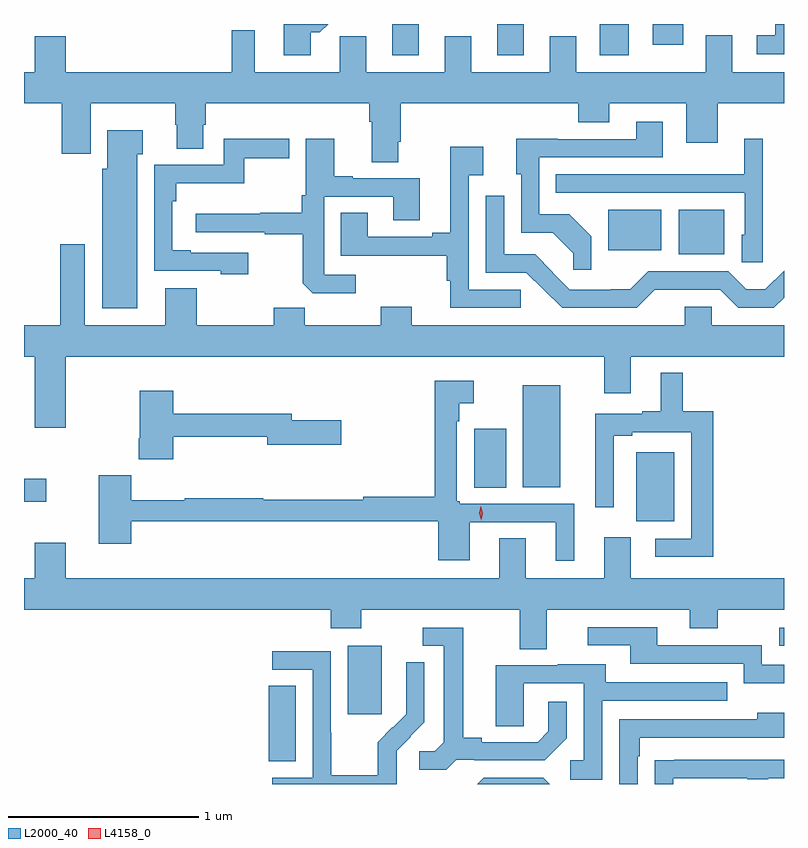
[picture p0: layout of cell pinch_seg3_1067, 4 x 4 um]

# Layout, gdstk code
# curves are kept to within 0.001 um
import gdstk
lib = gdstk.Library(unit=1e-6, precision=1e-09)
def R(c, l, rs):  # rectangles x0, y0, x1, y1
    for r in rs: c.add(gdstk.rectangle(r[:2], r[2:], *l))
def P(c, l, *ps):  # polygons
    for p in ps: c.add(gdstk.Polygon(p, *l))
L2000_40 = (2000, 40)
L4158_0 = (4158, 0)

pinch_seg3_1067 = lib.new_cell('pinch_seg3_1067')
R(pinch_seg3_1067, L2000_40, [(370.034,677.473,370.177,677.87), (370.451,677.721,370.63,678.082), (372.723,678.081,372.747,678.177), (371.969,678.737,372.169,679.099), (368.747,678.839,368.863,678.961), (371.117,678.913,371.284,679.225), (371.372,678.917,371.569,679.453), (372.194,680.141,372.433,680.377), (371.822,680.162,372.1,680.377), (370.685,681.189,370.825,681.354), (371.237,681.189,371.377,681.354), (371.777,681.189,371.929,681.354), (372.056,681.246,372.217,681.354)])
P(pinch_seg3_1067, L2000_40, [(372.747,681.354),(372.701,681.354),(372.701,681.295),(372.603,681.295),(372.603,681.194),(372.747,681.194)],
  [(370.255,681.311),(370.304,681.311),(370.347,681.354),(370.115,681.354),(370.115,681.189),(370.255,681.189)],
  [(370.717,680.734),(370.73,680.734),(370.73,680.936),(371.663,680.936),(371.663,680.837),(371.827,680.837),(371.827,680.936),(372.233,680.936),(372.233,680.73),(372.397,680.73),(372.397,680.936),(372.747,680.936),(372.747,681.1),(372.475,681.1),(372.475,681.295),(372.335,681.295),(372.335,681.1),(371.653,681.1),(371.653,681.29),(371.513,681.29),(371.513,681.1),(371.101,681.1),(371.101,681.29),(370.961,681.29),(370.961,681.1),(370.549,681.1),(370.549,681.29),(370.41,681.29),(370.41,681.1),(369.961,681.1),(369.961,681.322),(369.84,681.322),(369.84,681.1),(368.968,681.1),(368.968,681.289),(368.804,681.289),(368.804,681.1),(368.747,681.1),(368.747,680.936),(368.945,680.936),(368.945,680.67),(369.097,680.67),(369.097,680.936),(369.544,680.936),(369.544,680.823),(369.551,680.823),(369.551,680.698),(369.691,680.698),(369.691,680.823),(369.704,680.823),(369.704,680.936),(370.565,680.936),(370.565,680.84),(370.577,680.84),(370.577,680.626),(370.717,680.626)],
  [(371.733,680.236),(371.617,680.352),(371.46,680.352),(371.46,680.652),(372.109,680.652),(372.109,680.839),(371.969,680.839),(371.969,680.748),(371.557,680.748),(371.557,680.75),(371.339,680.75),(371.339,680.562),(371.364,680.562),(371.364,680.256),(371.53,680.256),(371.638,680.148),(371.638,680.061),(371.733,680.061)],
  [(369.343,680.669),(369.373,680.669),(369.373,680.794),(369.185,680.794),(369.185,680.592),(369.158,680.592),(369.158,679.859),(369.343,679.859)],
  [(369.928,680.151),(369.625,680.151),(369.625,680.164),(369.528,680.164),(369.528,680.42),(369.548,680.42),(369.548,680.516),(369.907,680.516),(369.907,680.647),(370.144,680.647),(370.144,680.75),(369.798,680.75),(369.798,680.613),(369.432,680.613),(369.432,680.055),(369.783,680.055),(369.783,680.036),(369.928,680.036)],
  [(370.492,680.034),(370.326,680.034),(370.326,680.445),(370.691,680.445),(370.691,680.32),(370.831,680.32),(370.831,680.541),(370.477,680.541),(370.477,680.554),(370.381,680.554),(370.381,680.749),(370.23,680.749),(370.23,680.452),(370.21,680.452),(370.21,680.36),(369.991,680.36),(369.991,680.356),(369.651,680.356),(369.651,680.259),(370.015,680.259),(370.015,680.247),(370.215,680.247),(370.215,679.989),(370.267,679.938),(370.492,679.938)],
  [(372.636,680.749),(372.539,680.749),(372.539,680.563),(372.205,680.563),(372.205,680.562),(371.545,680.562),(371.545,680.466),(372.54,680.466),(372.54,680.244),(372.524,680.244),(372.524,680.101),(372.636,680.101)],
  [(371.361,679.956),(371.088,679.956),(371.088,680.558),(371.164,680.558),(371.164,680.707),(370.991,680.707),(370.991,680.255),(370.895,680.255),(370.895,680.235),(370.555,680.235),(370.555,680.36),(370.415,680.36),(370.415,680.134),(370.972,680.134),(370.972,680.003),(370.991,680.003),(370.991,679.86),(371.361,679.86)],
  [(372.068,679.955),(372.411,679.956),(372.507,679.86),(372.694,679.86),(372.747,679.913),(372.747,680.055),(372.649,679.957),(372.548,679.957),(372.453,680.052),(372.033,680.052),(371.939,679.958),(371.834,679.958),(371.834,679.956),(371.619,679.956),(371.529,680.046),(371.531,680.048),(371.437,680.142),(371.274,680.142),(371.274,680.449),(371.178,680.449),(371.178,680.046),(371.391,680.046),(371.579,679.86),(371.973,679.86)],
  [(370.789,679.867),(370.625,679.867),(370.625,679.768),(370.225,679.768),(370.225,679.861),(370.061,679.861),(370.061,679.768),(369.655,679.768),(369.655,679.963),(369.491,679.963),(369.491,679.768),(369.067,679.768),(369.067,680.194),(368.939,680.194),(368.939,679.768),(368.747,679.768),(368.747,679.604),(368.804,679.604),(368.804,679.23),(368.968,679.23),(368.968,679.604),(371.801,679.604),(371.801,679.41),(371.941,679.41),(371.941,679.604),(372.747,679.604),(372.747,679.768),(372.366,679.768),(372.366,679.866),(372.224,679.866),(372.224,679.768),(370.789,679.768)],
  [(372.374,679.315),(372.215,679.315),(372.215,679.519),(372.098,679.519),(372.098,679.315),(372.002,679.315),(372.002,679.302),(371.753,679.302),(371.753,678.81),(371.85,678.81),(371.85,679.186),(371.947,679.186),(371.947,679.206),(372.258,679.206),(372.258,678.645),(372.069,678.645),(372.069,678.549),(372.374,678.549)],
  [(371.644,678.828),(371.04,678.828),(371.04,678.843),(371.025,678.843),(371.025,679.262),(371.038,679.262),(371.038,679.358),(371.113,679.358),(371.113,679.477),(370.909,679.477),(370.909,678.866),(370.532,678.866),(370.532,678.851),(370.007,678.851),(370.007,678.859),(369.594,678.859),(369.594,678.848),(369.311,678.848),(369.311,678.979),(369.14,678.979),(369.14,678.618),(369.311,678.618),(369.311,678.738),(370.928,678.738),(370.928,678.531),(371.092,678.531),(371.092,678.732),(371.546,678.732),(371.546,678.528),(371.644,678.528)],
  [(369.533,679.182),(370.028,679.182),(370.028,679.139),(370.417,679.139),(370.417,679.269),(370.156,679.269),(370.156,679.303),(369.533,679.303),(369.533,679.423),(369.355,679.423),(369.355,679.174),(369.35,679.174),(369.35,679.062),(369.533,679.062)],
  [(371.497,678.272),(372.251,678.272),(372.251,678.173),(372.399,678.173),(372.399,678.272),(372.747,678.272),(372.747,678.436),(371.941,678.436),(371.941,678.652),(371.801,678.652),(371.801,678.436),(371.389,678.436),(371.389,678.647),(371.249,678.647),(371.249,678.436),(368.968,678.436),(368.968,678.625),(368.804,678.625),(368.804,678.436),(368.747,678.436),(368.747,678.272),(370.361,678.272),(370.361,678.173),(370.521,678.173),(370.521,678.272),(371.357,678.272),(371.357,678.064),(371.497,678.064)],
  [(372.747,677.982),(372.63,677.982),(372.63,678.084),(372.079,678.084),(372.079,678.18),(371.715,678.18),(371.715,678.084),(371.939,678.084),(371.939,677.988),(372.534,677.988),(372.534,677.885),(372.747,677.885)],
  [(371.022,677.481),(371.116,677.481),(371.116,677.478),(371.488,677.478),(371.604,677.594),(371.604,677.788),(371.507,677.788),(371.507,677.631),(371.45,677.574),(371.155,677.574),(371.155,677.597),(371.059,677.597),(371.059,678.177),(370.845,678.177),(370.845,678.081),(370.955,678.081),(370.955,677.573),(370.908,677.526),(370.827,677.526),(370.827,677.429),(370.97,677.429)],
  [(370.71,677.433),(370.708,677.433),(370.708,677.53),(370.854,677.678),(370.854,677.996),(370.758,677.996),(370.758,677.842),(370.76,677.842),(370.76,677.72),(370.689,677.649),(370.686,677.652),(370.609,677.575),(370.609,677.401),(370.365,677.401),(370.365,677.624),(370.362,677.624),(370.362,678.054),(370.053,678.054),(370.053,677.955),(370.266,677.955),(370.266,677.388),(370.053,677.388),(370.053,677.354),(370.71,677.354)],
  [(371.79,677.793),(372.449,677.793),(372.449,677.889),(371.809,677.889),(371.809,677.983),(371.555,677.983),(371.555,677.979),(371.231,677.979),(371.231,677.659),(371.376,677.659),(371.376,677.883),(371.694,677.883),(371.694,677.478),(371.622,677.478),(371.622,677.377),(371.79,677.377)],
  [(371.976,677.501),(371.989,677.501),(371.989,677.598),(372.747,677.598),(372.747,677.728),(372.605,677.728),(372.605,677.694),(371.88,677.694),(371.88,677.354),(371.976,677.354)],
  [(372.163,677.385),(372.553,677.385),(372.553,677.38),(372.665,677.38),(372.665,677.385),(372.747,677.385),(372.747,677.481),(372.169,677.481),(372.169,677.48),(372.067,677.48),(372.067,677.354),(372.163,677.354)],
  [(371.481,677.388),(371.166,677.388),(371.132,677.354),(371.515,677.354)])
P(pinch_seg3_1067, L4158_0, [(371.153,678.743),(371.153,678.744),(371.142,678.779),(371.151,678.815),(371.151,678.815),(371.151,678.815),(371.162,678.78),(371.154,678.744)])

lib.write_gds('pinch_seg3_1067.gds')
